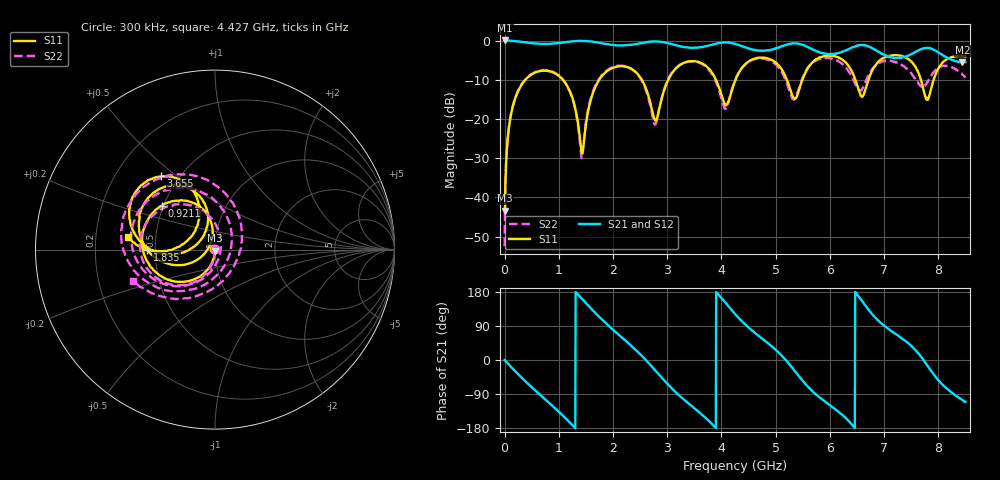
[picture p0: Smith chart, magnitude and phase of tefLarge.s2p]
# Hz S RI R 50
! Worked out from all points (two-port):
!   1201 points, 300 kHz to 8.5 GHz, reference 50 ohm
!   highest |S21| = 0.02 dB at 7.383 MHz (marker M1); lowest = -5.6 dB at 8.443 GHz (marker M2)
!   |S21| within 3 dB of the highest: start of sweep to 5.805 GHz; 6.208 GHz to 6.911 GHz (703.2 MHz wide, 10.7 % of centre)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
!   lowest |S11| = -43.4 dB at 7.383 MHz (marker M3), VSWR 1.01, Z = 50 - j0.675 ohm
!   |S11| at or under -10 dB: start of sweep to 383.2 MHz; 1.075 GHz to 1.745 GHz (670.3 MHz wide, 47.5 % of centre); 2.53 GHz to 3.02 GHz (489.7 MHz wide, 17.6 % of centre)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
!   |S22| runs from -52.4 to -4.4 dB; largest |S21 - S12| = 0.0085
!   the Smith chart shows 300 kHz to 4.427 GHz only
!   S11 on the Smith chart (normalised r, x): 300 kHz: 0.99, +0.01; 921.1 MHz: 0.49, +0.28; 1.835 GHz: 0.45, +0.00; 3.655 GHz: 0.40, +0.44; 4.427 GHz: 0.35, +0.06
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300000  -0.00438 0.0056  0.9953 -0.00427  0.9979 -0.00622  0.000413 0.00236
7383083  9.27e-05 -0.00675  1.002 -0.0188  1.001 -0.0193  0.000572 -0.00722
7.113083e7  -0.0145 -0.0681  0.9794 -0.1887  0.9789 -0.1894  -0.0118 -0.07
2.127925e8  -0.1103 -0.1627  0.8304 -0.5196  0.8326 -0.5192  -0.1012 -0.1728
9.211008e8  -0.2954 0.2454  -0.5414 -0.7428  -0.543 -0.741  -0.3317 0.2029
1.416917e9  -0.0277 0.0276  -0.949 0.2894  -0.9496 0.2882  0.0322 0.0042
1.834819e9  -0.3774 0.000548  -0.178 0.8928  -0.1798 0.8931  -0.3567 -0.1544
2.415631e9  -0.1815 0.3539  0.8018 0.4082  0.801 0.4094  -0.1922 0.3444
2.840616e9  -0.1236 0.0127  0.7709 -0.5871  0.7729 -0.587  0.032 -0.1192
3.655171e9  -0.2999 0.4082  -0.688 -0.4656  -0.6867 -0.4633  -0.2814 0.4076
4.25015e9  -0.3039 -0.0101  -0.4739 0.7721  -0.4755 0.7776  -0.1528 -0.2715
4.427227e9  -0.4827 0.0699  -0.0766 0.8208  -0.0767 0.8221  -0.4569 -0.1723
5.213449e9  -0.1409 0.2724  0.8899 -0.0678  0.886 -0.0705  0.1617 0.2243
5.666767e9  -0.5162 0.00128  0.1231 -0.7709  0.127 -0.7707  -0.4651 -0.212
6.197998e9  -0.4634 0.3647  -0.5468 -0.4429  -0.549 -0.4431  -0.2555 0.4537
6.509654e9  -0.1803 0.1891  -0.8527 0.1214  -0.8554 0.1242  0.2348 0.075
6.750478e9  -0.3553 -0.1084  -0.4839 0.6598  -0.485 0.6631  -0.1596 -0.3694
7.090466e9  -0.6396 0.028  0.0956 0.616  0.0914 0.6148  -0.5489 0.0474
7.480036e9  -0.4924 0.2591  0.503 0.4245  0.5004 0.4246  -0.1214 0.3758
7.763359e9  -0.1828 0.0648  0.7966 -0.1047  0.7988 -0.1023  0.2585 -0.0869
8.443335e9  -0.6306 -0.0613  -0.1393 -0.5083  -0.1403 -0.5118  -0.3538 0.1043
8.5e9  -0.6279 -0.0179  -0.1883 -0.4948  -0.1885 -0.4952  -0.3019 0.147
